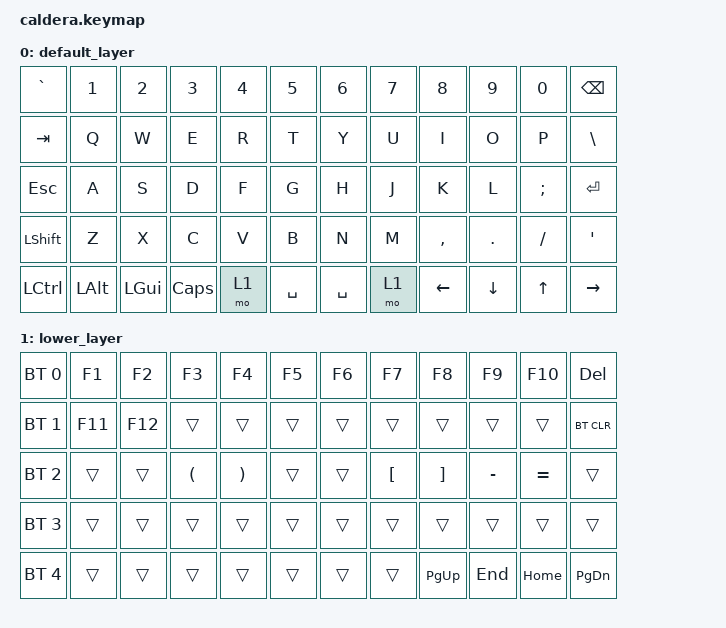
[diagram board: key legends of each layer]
#include <behaviors.dtsi>
#include <dt-bindings/zmk/bt.h>
#include <dt-bindings/zmk/keys.h>

/ {
    keymap {
        compatible = "zmk,keymap";

        default_layer {
            // ---------------------------------------------------------------------------------
            // |   `  |  1  |  2  |  3  |  4  |  5  |     |  6  |  7  |  8  |  9  |  0  | BKSP |
            // |  TAB |  Q  |  W  |  E  |  R  |  T  |     |  Y  |  U  |  I  |  O  |  P  |  \   |
            // | CAPS |  A  |  S  |  D  |  F  |  G  |     |  H  |  J  |  K  |  L  |  ;  |  ENT |
            // | SHFT |  Z  |  X  |  C  |  V  |  B  |     |  N  |  M  |  ,  |  .  |  /  | APOS |
            // | CTRL | ALT | GUI | SPC | SPC | SPC |     | SPC | LOW |LARW |DARW |UARW | RARW |

            bindings = <
&kp GRAVE   &kp N1    &kp N2    &kp N3    &kp N4  &kp N5       &kp N6     &kp N7  &kp N8          &kp N9          &kp N0        &kp BSPC
&kp TAB     &kp Q     &kp W     &kp E     &kp R   &kp T        &kp Y      &kp U   &kp I           &kp O           &kp P         &kp BSLH
&kp ESCAPE  &kp A     &kp S     &kp D     &kp F   &kp G        &kp H      &kp J   &kp K           &kp L           &kp SEMI      &kp RET
&kp LSHFT   &kp Z     &kp X     &kp C     &kp V   &kp B        &kp N      &kp M   &kp COMMA       &kp DOT         &kp FSLH      &kp APOS
&kp LCTRL   &kp LALT  &kp LGUI  &kp CAPS  &mo 1   &kp SPACE    &kp SPACE  &mo 1   &kp LEFT_ARROW  &kp DOWN_ARROW  &kp UP_ARROW  &kp RIGHT
            >;
        };

        lower_layer {
            // ------------------------------------------------------------------------------------------------------------
            // |       |  BT1  |  BT2  |  BT3  |  BT4  |  BT5  |          |       |       |       |       |       | BTCLR |
            // |       |       |       |       |       |       |          |       |       |       |       |       |       |
            // |       |       |       | LPAR  | RPAR  |       |          |       | LBKT  | RBKT  |       |       |       |
            // |       |       |       |       |       |       |          |       |       |       |       |       |       |

            bindings = <
&bt BT_SEL 0  &kp F1   &kp F2   &kp F3    &kp F4    &kp F5    &kp F6  &kp F7    &kp F8       &kp F9     &kp F10    &kp DELETE
&bt BT_SEL 1  &kp F11  &kp F12  &trans    &trans    &trans    &trans  &trans    &trans       &trans     &trans     &bt BT_CLR
&bt BT_SEL 2  &trans   &trans   &kp LPAR  &kp RPAR  &trans    &trans  &kp LBKT  &kp RBKT     &kp MINUS  &kp EQUAL  &trans
&bt BT_SEL 3  &trans   &trans   &trans    &trans    &trans    &trans  &trans    &trans       &trans     &trans     &trans
&bt BT_SEL 4  &trans   &trans   &trans    &trans    &trans    &trans  &trans    &kp PAGE_UP  &kp END    &kp HOME   &kp PAGE_DOWN
            >;
        };
    };
};
